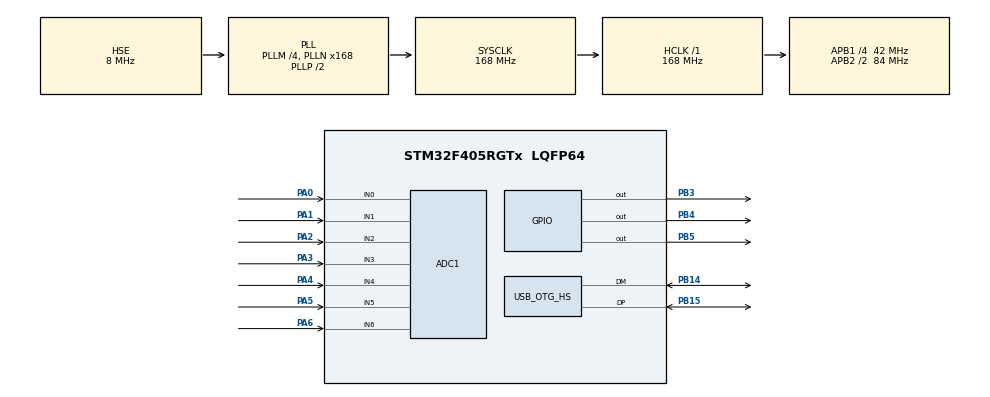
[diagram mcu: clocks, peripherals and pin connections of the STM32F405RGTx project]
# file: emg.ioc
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ADC1.Channel-20\#ChannelRegularConversion=ADC_CHANNEL_0
ADC1.Channel-21\#ChannelRegularConversion=ADC_CHANNEL_1
ADC1.Channel-22\#ChannelRegularConversion=ADC_CHANNEL_2
ADC1.Channel-23\#ChannelRegularConversion=ADC_CHANNEL_3
ADC1.Channel-24\#ChannelRegularConversion=ADC_CHANNEL_4
ADC1.Channel-25\#ChannelRegularConversion=ADC_CHANNEL_5
ADC1.Channel-26\#ChannelRegularConversion=ADC_CHANNEL_6
ADC1.ContinuousConvMode=ENABLE
ADC1.DMAContinuousRequests=ENABLE
ADC1.EOCSelection=ADC_EOC_SEQ_CONV
ADC1.NbrOfConversion=7
ADC1.NbrOfConversionFlag=1
ADC1.Rank-20\#ChannelRegularConversion=1
ADC1.Rank-21\#ChannelRegularConversion=2
ADC1.Rank-22\#ChannelRegularConversion=3
ADC1.Rank-23\#ChannelRegularConversion=4
ADC1.Rank-24\#ChannelRegularConversion=5
ADC1.Rank-25\#ChannelRegularConversion=6
ADC1.Rank-26\#ChannelRegularConversion=7
ADC1.SamplingTime-20\#ChannelRegularConversion=ADC_SAMPLETIME_480CYCLES
ADC1.SamplingTime-21\#ChannelRegularConversion=ADC_SAMPLETIME_480CYCLES
ADC1.SamplingTime-22\#ChannelRegularConversion=ADC_SAMPLETIME_480CYCLES
ADC1.SamplingTime-23\#ChannelRegularConversion=ADC_SAMPLETIME_480CYCLES
ADC1.SamplingTime-24\#ChannelRegularConversion=ADC_SAMPLETIME_480CYCLES
ADC1.SamplingTime-25\#ChannelRegularConversion=ADC_SAMPLETIME_480CYCLES
ADC1.SamplingTime-26\#ChannelRegularConversion=ADC_SAMPLETIME_480CYCLES
ADC1.ScanConvMode=ENABLE
ADC1.master=1
Dma.ADC1.0.Direction=DMA_PERIPH_TO_MEMORY
Dma.ADC1.0.FIFOMode=DMA_FIFOMODE_DISABLE
Dma.ADC1.0.Instance=DMA2_Stream0
Dma.ADC1.0.MemDataAlignment=DMA_MDATAALIGN_HALFWORD
Dma.ADC1.0.MemInc=DMA_MINC_ENABLE
Dma.ADC1.0.Mode=DMA_CIRCULAR
Dma.ADC1.0.PeriphDataAlignment=DMA_PDATAALIGN_HALFWORD
Dma.ADC1.0.PeriphInc=DMA_PINC_DISABLE
Dma.ADC1.0.Priority=DMA_PRIORITY_LOW
Dma.Request0=ADC1
FREERTOS.Tasks01=defaultTask,0,128,StartDefaultTask,Default,NULL
Mcu.Family=STM32F4
Mcu.Name=STM32F405RGTx
Mcu.Package=LQFP64
NVIC.ADC_IRQn=true\:5\:0\:false\:false\:true\:true\:true
NVIC.DMA2_Stream0_IRQn=true\:5\:0\:false\:false\:true\:true\:false
NVIC.OTG_HS_IRQn=true\:5\:0\:false\:false\:true\:true\:false
NVIC.PriorityGroup=NVIC_PRIORITYGROUP_4
NVIC.TIM8_TRG_COM_TIM14_IRQn=true\:0\:0\:false\:false\:true\:false\:false
NVIC.TimeBase=TIM8_TRG_COM_TIM14_IRQn
NVIC.TimeBaseIP=TIM14
PA0-WKUP.Signal=ADCx_IN0
PA1.Signal=ADCx_IN1
PA13.Mode=Serial_Wire
PA13.Signal=SYS_JTMS-SWDIO
PA14.Mode=Serial_Wire
PA14.Signal=SYS_JTCK-SWCLK
PA2.Signal=ADCx_IN2
PA3.Signal=ADCx_IN3
PA4.Signal=ADCx_IN4
PA5.Signal=ADCx_IN5
PA6.Signal=ADCx_IN6
PB14.Mode=Device_Only_FS
PB14.Signal=USB_OTG_HS_DM
PB15.Mode=Device_Only_FS
PB15.Signal=USB_OTG_HS_DP
PB3.Signal=GPIO_Output
PB4.Signal=GPIO_Output
PB5.Signal=GPIO_Output
PH0-OSC_IN.Mode=HSE-External-Oscillator
PH0-OSC_IN.Signal=RCC_OSC_IN
PH1-OSC_OUT.Mode=HSE-External-Oscillator
PH1-OSC_OUT.Signal=RCC_OSC_OUT
ProjectManager.HeapSize=0x200
ProjectManager.StackSize=0x400
ProjectManager.TargetToolchain=SW4STM32
RCC.48MHZClocksFreq_Value=48000000
RCC.AHBFreq_Value=168000000
RCC.APB1CLKDivider=RCC_HCLK_DIV4
RCC.APB1Freq_Value=42000000
RCC.APB1TimFreq_Value=84000000
RCC.APB2CLKDivider=RCC_HCLK_DIV2
RCC.APB2Freq_Value=84000000
RCC.APB2TimFreq_Value=168000000
RCC.CortexFreq_Value=168000000
RCC.HCLKFreq_Value=168000000
RCC.HSE_VALUE=8000000
RCC.HSI_VALUE=16000000
RCC.LSE_VALUE=32768
RCC.PLLM=4
RCC.PLLN=168
RCC.PLLQ=7
RCC.SYSCLKFreq_VALUE=168000000
RCC.SYSCLKSource=RCC_SYSCLKSOURCE_PLLCLK
RCC.VCOOutputFreq_Value=336000000
SH.ADCx_IN0.0=ADC1_IN0,IN0
SH.ADCx_IN1.0=ADC1_IN1,IN1
SH.ADCx_IN2.0=ADC1_IN2,IN2
SH.ADCx_IN3.0=ADC1_IN3,IN3
SH.ADCx_IN4.0=ADC1_IN4,IN4
SH.ADCx_IN5.0=ADC1_IN5,IN5
SH.ADCx_IN6.0=ADC1_IN6,IN6
USB_DEVICE.CLASS_NAME_HS=CDC
USB_DEVICE.VirtualMode-CDC_HS=Cdc
USB_DEVICE.VirtualModeHS=Cdc_HS
USB_OTG_HS.VirtualMode-Device_Only_FS=Device_Only_FS
VP_FREERTOS_VS_ENABLE.Mode=Enabled
VP_SYS_VS_tim14.Mode=TIM14
VP_USB_DEVICE_VS_USB_DEVICE_CDC_HS.Mode=CDC_HS
board=emg

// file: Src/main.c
/**
  ******************************************************************************
  * @file           : main.c
  * @brief          : Main program body
  ******************************************************************************
  * This notice applies to any and all portions of this file
  * that are not between comment pairs USER CODE BEGIN and
  * USER CODE END. Other portions of this file, whether
  * inserted by the user or by software development tools
  * are owned by their respective copyright owners.
  *
  * Copyright (c) 2018 STMicroelectronics International N.V.
  * All rights reserved.
  *
  * Redistribution and use in source and binary forms, with or without
  * modification, are permitted, provided that the following conditions are met:
  *
  * 1. Redistribution of source code must retain the above copyright notice,
  *    this list of conditions and the following disclaimer.
  * 2. Redistributions in binary form must reproduce the above copyright notice,
  *    this list of conditions and the following disclaimer in the documentation
  *    and/or other materials provided with the distribution.
  * 3. Neither the name of STMicroelectronics nor the names of other
  *    contributors to this software may be used to endorse or promote products
  *    derived from this software without specific written permission.
  * 4. This software, including modifications and/or derivative works of this
  *    software, must execute solely and exclusively on microcontroller or
  *    microprocessor devices manufactured by or for STMicroelectronics.
  * 5. Redistribution and use of this software other than as permitted under
  *    this license is void and will automatically terminate your rights under
  *    this license.
  *
  * THIS SOFTWARE IS PROVIDED BY STMICROELECTRONICS AND CONTRIBUTORS "AS IS"
  * AND ANY EXPRESS, IMPLIED OR STATUTORY WARRANTIES, INCLUDING, BUT NOT
  * LIMITED TO, THE IMPLIED WARRANTIES OF MERCHANTABILITY, FITNESS FOR A
  * PARTICULAR PURPOSE AND NON-INFRINGEMENT OF THIRD PARTY INTELLECTUAL PROPERTY
  * RIGHTS ARE DISCLAIMED TO THE FULLEST EXTENT PERMITTED BY LAW. IN NO EVENT
  * SHALL STMICROELECTRONICS OR CONTRIBUTORS BE LIABLE FOR ANY DIRECT, INDIRECT,
  * INCIDENTAL, SPECIAL, EXEMPLARY, OR CONSEQUENTIAL DAMAGES (INCLUDING, BUT NOT
  * LIMITED TO, PROCUREMENT OF SUBSTITUTE GOODS OR SERVICES; LOSS OF USE, DATA,
  * OR PROFITS; OR BUSINESS INTERRUPTION) HOWEVER CAUSED AND ON ANY THEORY OF
  * LIABILITY, WHETHER IN CONTRACT, STRICT LIABILITY, OR TORT (INCLUDING
  * NEGLIGENCE OR OTHERWISE) ARISING IN ANY WAY OUT OF THE USE OF THIS SOFTWARE,
  * EVEN IF ADVISED OF THE POSSIBILITY OF SUCH DAMAGE.
  *
  ******************************************************************************
  */
#include "main.h"
#include "stm32f4xx_hal.h"
#include "cmsis_os.h"
#include "usb_device.h"

/* USER CODE BEGIN Includes */
#include "usbd_cdc_if.h"
/* USER CODE END Includes */

ADC_HandleTypeDef hadc1;
DMA_HandleTypeDef hdma_adc1;

osThreadId defaultTaskHandle;

/* USER CODE BEGIN PV */
/* Private variables ---------------------------------------------------------*/

/* USER CODE END PV */

void SystemClock_Config(void);
static void MX_GPIO_Init(void);
static void MX_DMA_Init(void);
static void MX_ADC1_Init(void);
void StartDefaultTask(void const * argument);

/* USER CODE BEGIN PFP */
/* Private function prototypes -----------------------------------------------*/

/* USER CODE END PFP */

/* USER CODE BEGIN 0 */
typedef struct {
	unsigned short v[7];
} AdcDataT;
#define ADC_QUEUE_SZ 64
osPoolDef( AdcDataPool, ADC_QUEUE_SZ, AdcDataT );
osPoolId   AdcDataPool;
osMessageQDef( AdcDataQueue, ADC_QUEUE_SZ, AdcDataT );
osMessageQId   AdcDataQueue;
void queueInit(void);
void setLeds( uint16_t bits );
void clrLeds( uint16_t bits );
/* USER CODE END 0 */

int main(void)
{

  /* MCU Configuration----------------------------------------------------------*/

  /* Reset of all peripherals, Initializes the Flash interface and the Systick. */
  HAL_Init();

  /* Configure the system clock */
  SystemClock_Config();

  /* Initialize all configured peripherals */
  MX_GPIO_Init();
  MX_DMA_Init();
  MX_ADC1_Init();
  /* USER CODE BEGIN 2 */
  queueInit();
  /* USER CODE END 2 */

  /* Create the thread(s) */
  /* definition and creation of defaultTask */
  osThreadDef(defaultTask, StartDefaultTask, osPriorityNormal, 0, 128);
  defaultTaskHandle = osThreadCreate(osThread(defaultTask), NULL);

  /* Start scheduler */
  osKernelStart();

  /* We should never get here as control is now taken by the scheduler */

  /* Infinite loop */
  while (1)
  {

  }

}

void SystemClock_Config(void)
{

  RCC_OscInitTypeDef RCC_OscInitStruct;
  RCC_ClkInitTypeDef RCC_ClkInitStruct;

    /**Configure the main internal regulator output voltage
    */
  __HAL_RCC_PWR_CLK_ENABLE();

  __HAL_PWR_VOLTAGESCALING_CONFIG(PWR_REGULATOR_VOLTAGE_SCALE1);

    /**Initializes the CPU, AHB and APB busses clocks
    */
  RCC_OscInitStruct.OscillatorType = RCC_OSCILLATORTYPE_HSE;
  RCC_OscInitStruct.HSEState = RCC_HSE_ON;
  RCC_OscInitStruct.PLL.PLLState = RCC_PLL_ON;
  RCC_OscInitStruct.PLL.PLLSource = RCC_PLLSOURCE_HSE;
  RCC_OscInitStruct.PLL.PLLM = 4;
  RCC_OscInitStruct.PLL.PLLN = 168;
  RCC_OscInitStruct.PLL.PLLP = RCC_PLLP_DIV2;
  RCC_OscInitStruct.PLL.PLLQ = 7;
  if (HAL_RCC_OscConfig(&RCC_OscInitStruct) != HAL_OK)
  {
    _Error_Handler(__FILE__, __LINE__);
  }

    /**Initializes the CPU, AHB and APB busses clocks
    */
  RCC_ClkInitStruct.ClockType = RCC_CLOCKTYPE_HCLK|RCC_CLOCKTYPE_SYSCLK
                              |RCC_CLOCKTYPE_PCLK1|RCC_CLOCKTYPE_PCLK2;
  RCC_ClkInitStruct.SYSCLKSource = RCC_SYSCLKSOURCE_PLLCLK;
  RCC_ClkInitStruct.AHBCLKDivider = RCC_SYSCLK_DIV1;
  RCC_ClkInitStruct.APB1CLKDivider = RCC_HCLK_DIV4;
  RCC_ClkInitStruct.APB2CLKDivider = RCC_HCLK_DIV2;

  if (HAL_RCC_ClockConfig(&RCC_ClkInitStruct, FLASH_LATENCY_5) != HAL_OK)
  {
    _Error_Handler(__FILE__, __LINE__);
  }

    /**Configure the Systick interrupt time
    */
  HAL_SYSTICK_Config(HAL_RCC_GetHCLKFreq()/1000);

    /**Configure the Systick
    */
  HAL_SYSTICK_CLKSourceConfig(SYSTICK_CLKSOURCE_HCLK);

  /* SysTick_IRQn interrupt configuration */
  HAL_NVIC_SetPriority(SysTick_IRQn, 15, 0);
}

/* ADC1 init function */
static void MX_ADC1_Init(void)
{

  ADC_ChannelConfTypeDef sConfig;

    /**Configure the global features of the ADC (Clock, Resolution, Data Alignment and number of conversion)
    */
  hadc1.Instance = ADC1;
  hadc1.Init.ClockPrescaler = ADC_CLOCK_SYNC_PCLK_DIV4;
  hadc1.Init.Resolution = ADC_RESOLUTION_12B;
  hadc1.Init.ScanConvMode = ENABLE;
  hadc1.Init.ContinuousConvMode = ENABLE;
  hadc1.Init.DiscontinuousConvMode = DISABLE;
  hadc1.Init.ExternalTrigConvEdge = ADC_EXTERNALTRIGCONVEDGE_NONE;
  hadc1.Init.ExternalTrigConv = ADC_SOFTWARE_START;
  hadc1.Init.DataAlign = ADC_DATAALIGN_RIGHT;
  hadc1.Init.NbrOfConversion = 7;
  hadc1.Init.DMAContinuousRequests = ENABLE;
  hadc1.Init.EOCSelection = ADC_EOC_SEQ_CONV;
  if (HAL_ADC_Init(&hadc1) != HAL_OK)
  {
    _Error_Handler(__FILE__, __LINE__);
  }

    /**Configure for the selected ADC regular channel its corresponding rank in the sequencer and its sample time.
    */
  sConfig.Channel = ADC_CHANNEL_0;
  sConfig.Rank = 1;
  sConfig.SamplingTime = ADC_SAMPLETIME_84CYCLES;
  if (HAL_ADC_ConfigChannel(&hadc1, &sConfig) != HAL_OK)
  {
    _Error_Handler(__FILE__, __LINE__);
  }

    /**Configure for the selected ADC regular channel its corresponding rank in the sequencer and its sample time.
    */
  sConfig.Channel = ADC_CHANNEL_1;
  sConfig.Rank = 2;
  if (HAL_ADC_ConfigChannel(&hadc1, &sConfig) != HAL_OK)
  {
    _Error_Handler(__FILE__, __LINE__);
  }

    /**Configure for the selected ADC regular channel its corresponding rank in the sequencer and its sample time.
    */
  sConfig.Channel = ADC_CHANNEL_2;
  sConfig.Rank = 3;
  if (HAL_ADC_ConfigChannel(&hadc1, &sConfig) != HAL_OK)
  {
    _Error_Handler(__FILE__, __LINE__);
  }

    /**Configure for the selected ADC regular channel its corresponding rank in the sequencer and its sample time.
    */
  sConfig.Channel = ADC_CHANNEL_3;
  sConfig.Rank = 4;
  if (HAL_ADC_ConfigChannel(&hadc1, &sConfig) != HAL_OK)
  {
    _Error_Handler(__FILE__, __LINE__);
  }

    /**Configure for the selected ADC regular channel its corresponding rank in the sequencer and its sample time.
    */
  sConfig.Channel = ADC_CHANNEL_4;
  sConfig.Rank = 5;
  if (HAL_ADC_ConfigChannel(&hadc1, &sConfig) != HAL_OK)
  {
    _Error_Handler(__FILE__, __LINE__);
  }

    /**Configure for the selected ADC regular channel its corresponding rank in the sequencer and its sample time.
    */
  sConfig.Channel = ADC_CHANNEL_5;
  sConfig.Rank = 6;
  if (HAL_ADC_ConfigChannel(&hadc1, &sConfig) != HAL_OK)
  {
    _Error_Handler(__FILE__, __LINE__);
  }

    /**Configure for the selected ADC regular channel its corresponding rank in the sequencer and its sample time.
    */
  sConfig.Channel = ADC_CHANNEL_6;
  sConfig.Rank = 7;
  if (HAL_ADC_ConfigChannel(&hadc1, &sConfig) != HAL_OK)
  {
    _Error_Handler(__FILE__, __LINE__);
  }

}

static void MX_DMA_Init(void)
{
  /* DMA controller clock enable */
  __HAL_RCC_DMA2_CLK_ENABLE();

  /* DMA interrupt init */
  /* DMA2_Stream0_IRQn interrupt configuration */
  HAL_NVIC_SetPriority(DMA2_Stream0_IRQn, 5, 0);
  HAL_NVIC_EnableIRQ(DMA2_Stream0_IRQn);

}

/** Configure pins as
        * Analog
        * Input
        * Output
        * EVENT_OUT
        * EXTI
        * Free pins are configured automatically as Analog (this feature is enabled through
        * the Code Generation settings)
*/
static void MX_GPIO_Init(void)
{

  GPIO_InitTypeDef GPIO_InitStruct;

  /* GPIO Ports Clock Enable */
  __HAL_RCC_GPIOC_CLK_ENABLE();
  __HAL_RCC_GPIOH_CLK_ENABLE();
  __HAL_RCC_GPIOA_CLK_ENABLE();
  __HAL_RCC_GPIOB_CLK_ENABLE();
  __HAL_RCC_GPIOD_CLK_ENABLE();

  /*Configure GPIO pin Output Level */
  HAL_GPIO_WritePin(GPIOB, GPIO_PIN_3|GPIO_PIN_4|GPIO_PIN_5, GPIO_PIN_RESET);

  /*Configure GPIO pins : PC13 PC14 PC15 PC0
                           PC1 PC2 PC3 PC4
                           PC5 PC6 PC7 PC8
                           PC9 PC10 PC11 PC12 */
  GPIO_InitStruct.Pin = GPIO_PIN_13|GPIO_PIN_14|GPIO_PIN_15|GPIO_PIN_0
                          |GPIO_PIN_1|GPIO_PIN_2|GPIO_PIN_3|GPIO_PIN_4
                          |GPIO_PIN_5|GPIO_PIN_6|GPIO_PIN_7|GPIO_PIN_8
                          |GPIO_PIN_9|GPIO_PIN_10|GPIO_PIN_11|GPIO_PIN_12;
  GPIO_InitStruct.Mode = GPIO_MODE_ANALOG;
  GPIO_InitStruct.Pull = GPIO_NOPULL;
  HAL_GPIO_Init(GPIOC, &GPIO_InitStruct);

  /*Configure GPIO pins : PA7 PA8 PA9 PA10
                           PA11 PA12 PA15 */
  GPIO_InitStruct.Pin = GPIO_PIN_7|GPIO_PIN_8|GPIO_PIN_9|GPIO_PIN_10
                          |GPIO_PIN_11|GPIO_PIN_12|GPIO_PIN_15;
  GPIO_InitStruct.Mode = GPIO_MODE_ANALOG;
  GPIO_InitStruct.Pull = GPIO_NOPULL;
  HAL_GPIO_Init(GPIOA, &GPIO_InitStruct);

  /*Configure GPIO pins : PB0 PB1 PB2 PB10
                           PB11 PB12 PB13 PB6
                           PB7 PB8 PB9 */
  GPIO_InitStruct.Pin = GPIO_PIN_0|GPIO_PIN_1|GPIO_PIN_2|GPIO_PIN_10
                          |GPIO_PIN_11|GPIO_PIN_12|GPIO_PIN_13|GPIO_PIN_6
                          |GPIO_PIN_7|GPIO_PIN_8|GPIO_PIN_9;
  GPIO_InitStruct.Mode = GPIO_MODE_ANALOG;
  GPIO_InitStruct.Pull = GPIO_NOPULL;
  HAL_GPIO_Init(GPIOB, &GPIO_InitStruct);

  /*Configure GPIO pin : PD2 */
  GPIO_InitStruct.Pin = GPIO_PIN_2;
  GPIO_InitStruct.Mode = GPIO_MODE_ANALOG;
  GPIO_InitStruct.Pull = GPIO_NOPULL;
  HAL_GPIO_Init(GPIOD, &GPIO_InitStruct);

  /*Configure GPIO pins : PB3 PB4 PB5 */
  GPIO_InitStruct.Pin = GPIO_PIN_3|GPIO_PIN_4|GPIO_PIN_5;
  GPIO_InitStruct.Mode = GPIO_MODE_OUTPUT_PP;
  GPIO_InitStruct.Pull = GPIO_NOPULL;
  GPIO_InitStruct.Speed = GPIO_SPEED_FREQ_LOW;
  HAL_GPIO_Init(GPIOB, &GPIO_InitStruct);

}

/* USER CODE BEGIN 4 */
#define ADC_DMA_BUFFER_LEN 14
uint16_t adc_dma_buffer[ADC_DMA_BUFFER_LEN];
void processAdcData( uint16_t * d )
{
	static uint16_t t[7];
	t[0] = d[0];
	t[1] = d[1];
	t[2] = d[2];
	t[3] = d[3];
	t[4] = d[4];
	t[5] = d[5];
	t[6] = d[6];

	setLeds( 1 );

	// Depending on what's going on actions might differ.
	AdcDataT * data = 0;
	if ( data == 0 )
		data = (AdcDataT*)osPoolAlloc( AdcDataPool );
	if ( data )
	{
		data->v[0] = t[0];
		data->v[1] = t[1];
		data->v[2] = t[2];
		data->v[3] = t[3];
		data->v[4] = t[4];
		data->v[5] = t[5];
		data->v[6] = t[6];

		setLeds( 2 );

		osMessagePut( AdcDataQueue, (uint32_t)data, 0 );
		data = 0;
	}

	clrLeds( 1 );
}

void queueInit(void)
{
    AdcDataPool  = osPoolCreate( osPool(AdcDataPool) );
    AdcDataQueue = osMessageCreate( osMessageQ(AdcDataQueue), 0 );
}

void HAL_ADC_ConvHalfCpltCallback(ADC_HandleTypeDef* AdcHandle)
{
	processAdcData( adc_dma_buffer );
}

void HAL_ADC_ConvCpltCallback(ADC_HandleTypeDef* AdcHandle)
{
	processAdcData( &(adc_dma_buffer[7]) );
}

void setLeds( uint16_t bits )
{
	const uint16_t pads = ( (bits & 0x0001) ? GPIO_PIN_3 : 0 ) |
						  ( (bits & 0x0002) ? GPIO_PIN_4 : 0 ) |
						  ( (bits & 0x0004) ? GPIO_PIN_5 : 0 );
	HAL_GPIO_WritePin(GPIOB, pads, GPIO_PIN_SET );
}

void clrLeds( uint16_t bits )
{
	const uint16_t pads = ( (bits & 0x0001) ? GPIO_PIN_3 : 0 ) |
						  ( (bits & 0x0002) ? GPIO_PIN_4 : 0 ) |
						  ( (bits & 0x0004) ? GPIO_PIN_5 : 0 );
	HAL_GPIO_WritePin(GPIOB, pads, GPIO_PIN_RESET );
}
/* USER CODE END 4 */

/* StartDefaultTask function */
void StartDefaultTask(void const * argument)
{
  /* init code for USB_DEVICE */
  MX_USB_DEVICE_Init();

  /* USER CODE BEGIN 5 */
	if ( HAL_ADC_Start_DMA( &hadc1, (uint32_t *)adc_dma_buffer, ADC_DMA_BUFFER_LEN ) != HAL_OK )
		Error_Handler();

	#define PACKET_SZ 64
	#define MSGS_QTY  4
	static osEvent evt;
	static unsigned char packet[PACKET_SZ];
	const int bytesPerMsg = sizeof(AdcDataT);

	static const int QTY = 18; //348;
	static int msgsQty = 0;

	static uint32_t accum[7];
	accum[0] = accum[1] =
	accum[2] = accum[3] =
	accum[4] = accum[5] =
	accum[6] = 0;

    /* Infinite loop */
    for(;;)
    {
    	evt = osMessageGet( AdcDataQueue, 1 );
    	if ( evt.status & osEventMessage )
    	{
    		clrLeds( 2 );

    		AdcDataT * data = (AdcDataT *)evt.value.p;
    		// Add it to the array to be sent.
    		accum[0] += data->v[0];
    		accum[1] += data->v[1];
    		accum[2] += data->v[2];
    		accum[3] += data->v[3];
    		accum[4] += data->v[4];
    		accum[5] += data->v[5];
    		accum[6] += data->v[6];
    		msgsQty += 1;
    		osPoolFree( AdcDataPool, (void *)data );
    	}
    	//const int timeout = (evt.status & osEventTimeout);

    	if ( msgsQty >= QTY )
    	{
    		setLeds( 4 );
    		static AdcDataT data;
    		data.v[0] = accum[0] * 16 / msgsQty;
    		data.v[1] = accum[1] * 16 / msgsQty;
    		data.v[2] = accum[2] * 16 / msgsQty;
    		data.v[3] = accum[3] * 16 / msgsQty;
    		data.v[4] = accum[4] * 16 / msgsQty;
    		data.v[5] = accum[5] * 16 / msgsQty;
    		data.v[6] = accum[6] * 16 / msgsQty;
    		// Send through USB. And zero messages qty.
    		unsigned char * d = (unsigned char *)(data.v);
    		for ( int i=0; i<bytesPerMsg; i++ )
    			packet[i] = d[i];
    		const int len = bytesPerMsg;
    		CDC_Transmit_HS( packet, len );

    		msgsQty = 0;
    		accum[0] = accum[1] =
    		accum[2] = accum[3] =
    		accum[4] = accum[5] =
    		accum[6] = 0;

    		clrLeds( 4 );
    	}

        //osDelay(1);
    }
  /* USER CODE END 5 */
}

void HAL_TIM_PeriodElapsedCallback(TIM_HandleTypeDef *htim)
{
  if (htim->Instance == TIM14) {
    HAL_IncTick();
  }
}

void _Error_Handler(char *file, int line)
{
  while(1)
  {
  }
}

/************************ (C) COPYRIGHT STMicroelectronics *****END OF FILE****/
